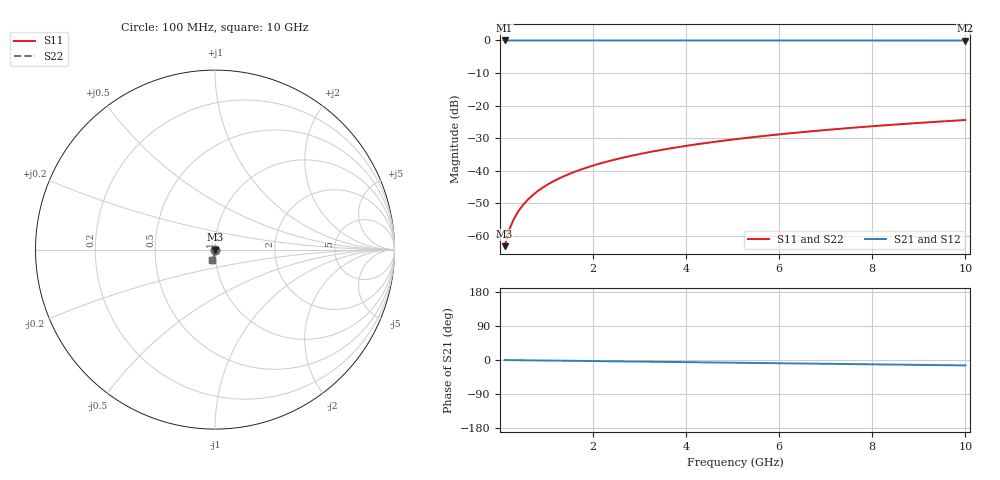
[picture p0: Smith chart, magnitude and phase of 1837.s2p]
# Hz S RI R 50.00
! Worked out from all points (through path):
!   100 points, 100 MHz to 10 GHz, reference 50 ohm
!   highest |S21| = 0.00 dB at 100 MHz (marker M1); lowest = 0.0 dB at 10 GHz (marker M2)
!   group delay of S21, straight-line fit = 3.98 ps
!   lowest |S11| = -63.1 dB at 100 MHz (marker M3), VSWR 1.00, Z = 50 - j0.0602 ohm
!   |S11| at or under -10 dB: start of sweep to end of sweep
!   |S22| runs from -63.1 to -24.4 dB; largest |S21 - S12| = 0
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1e8  0.000357 -0.000602  0.9996 -0.00247  0.9996 -0.00247  0.000357 -0.000602
2e8  0.000353 -0.0012  0.9996 -0.00493  0.9996 -0.00493  0.000353 -0.0012
3e8  0.000346 -0.0018  0.9996 -0.0074  0.9996 -0.0074  0.000346 -0.0018
4e8  0.000336 -0.00241  0.9996 -0.00987  0.9996 -0.00987  0.000336 -0.00241
5e8  0.000322 -0.00301  0.9995 -0.0123  0.9995 -0.0123  0.000322 -0.00301
6e8  0.000306 -0.00361  0.9995 -0.0148  0.9995 -0.0148  0.000306 -0.00361
7e8  0.000286 -0.00421  0.9995 -0.0173  0.9995 -0.0173  0.000286 -0.00421
8e8  0.000263 -0.00481  0.9994 -0.0197  0.9994 -0.0197  0.000263 -0.00481
9e8  0.000237 -0.00542  0.9994 -0.0222  0.9994 -0.0222  0.000237 -0.00542
1.1e9  0.000176 -0.00662  0.9992 -0.0272  0.9992 -0.0272  0.000176 -0.00662
1.4e9  6.26e-05 -0.00843  0.999 -0.0346  0.999 -0.0346  6.26e-05 -0.00843
1.8e9  -0.000131 -0.0108  0.9985 -0.0444  0.9985 -0.0444  -0.000131 -0.0108
2.1e9  -0.000309 -0.0126  0.9982 -0.0519  0.9982 -0.0519  -0.000309 -0.0126
2.5e9  -0.000587 -0.0151  0.9976 -0.0618  0.9976 -0.0618  -0.000587 -0.0151
2.9e9  -0.000914 -0.0175  0.9968 -0.0717  0.9968 -0.0717  -0.000914 -0.0175
3.4e9  -0.00139 -0.0205  0.9958 -0.084  0.9958 -0.084  -0.00139 -0.0205
4.2e9  -0.00231 -0.0253  0.9938 -0.1038  0.9938 -0.1038  -0.00231 -0.0253
5.1e9  -0.00357 -0.0306  0.9911 -0.1261  0.9911 -0.1261  -0.00357 -0.0306
5.9e9  -0.0049 -0.0353  0.9882 -0.1459  0.9882 -0.1459  -0.0049 -0.0353
6.7e9  -0.00642 -0.04  0.9848 -0.1656  0.9848 -0.1656  -0.00642 -0.04
8.4e9  -0.0103 -0.0497  0.9764 -0.2075  0.9764 -0.2075  -0.0103 -0.0497
1e10  -0.0146 -0.0584  0.9666 -0.2467  0.9666 -0.2467  -0.0146 -0.0584
